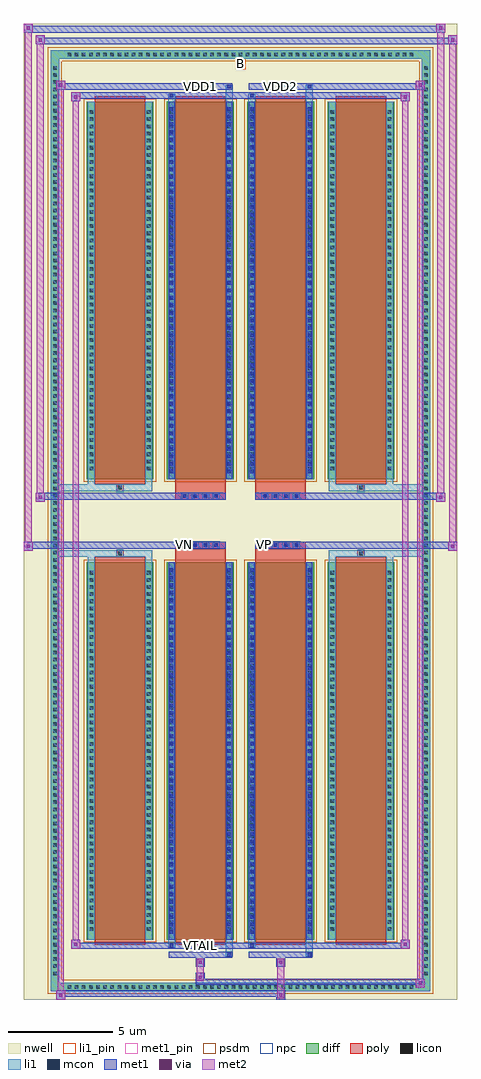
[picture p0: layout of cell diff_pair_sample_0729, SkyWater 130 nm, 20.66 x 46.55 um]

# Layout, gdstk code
import gdstk
lib = gdstk.Library(unit=1e-6, precision=5e-09)
def R(c, l, rs):  # rectangles x0, y0, x1, y1
    for r in rs: c.add(gdstk.rectangle(r[:2], r[2:], *l))
def A(c, l, x, y, w, h, nx, ny, dx, dy):  # array of equal rectangles
    R(c, l, [(x+i*dx, y+j*dy, x+i*dx+w, y+j*dy+h) for i in range(nx) for j in range(ny)])
def P(c, l, *ps):  # polygons
    for p in ps: c.add(gdstk.Polygon(p, *l))
nwell = (64, 20)
diff = (65, 20)
poly = (66, 20)
licon = (66, 44)
li1_pin = (67, 16)
li1 = (67, 20)
mcon = (67, 44)
met1_pin = (68, 16)
met1 = (68, 20)
via = (68, 44)
met2 = (69, 20)
psdm = (94, 20)
npc = (95, 20)

diff_pair_sample_0729 = lib.new_cell('diff_pair_sample_0729')
R(diff_pair_sample_0729, nwell, [(-10.33,-22.84,10.33,23.71), (-7.65,-21.03,-0.01,-0.805), (0.01,-21.03,7.65,-0.805), (-7.65,0.805,-0.01,21.03), (0.01,0.805,7.65,21.03)])
A(diff_pair_sample_0729, diff, -8.365, -22.44, 0.41, 0.41, 49, 2, 0.34, 44.47)
A(diff_pair_sample_0729, diff, -9.06, -21.795, 0.41, 0.41, 1, 128, 0, 0.34)
A(diff_pair_sample_0729, diff, 8.65, -21.795, 0.41, 0.41, 1, 128, 0, 0.34)
A(diff_pair_sample_0729, diff, -7.34, -19.985, 3.19, 18, 4, 2, 3.83, 21.97)
R(diff_pair_sample_0729, diff, [(-8.365,-22.44,8.365,-22.03), (-9.06,-21.795,-8.65,21.795), (8.65,-21.795,9.06,21.795), (-8.365,22.03,8.365,22.44)])
P(diff_pair_sample_0729, diff, [(9.06,22.44),(-9.06,22.44),(-9.06,-22.03),(-8.65,-22.03),(-8.65,22.03),(8.65,22.03),(8.65,-22.03),(-8.65,-22.03),(-9.06,-22.03),(-9.06,-22.44),(9.06,-22.44)])
A(diff_pair_sample_0729, poly, -6.95, -20.235, 2.41, 18.5, 4, 2, 3.83, 21.97)
A(diff_pair_sample_0729, poly, -2.83, -1.335, 0.33, 0.33, 4, 2, 0.5, 2.34)
A(diff_pair_sample_0729, poly, 1, -1.335, 0.33, 0.33, 4, 2, 0.5, 2.34)
R(diff_pair_sample_0729, poly, [(-5.91,-1.735,-5.58,-1.405), (-5.91,-1.735,-5.58,-1.405), (-3.12,-1.735,-0.71,-1.335), (0.71,-1.735,3.12,-1.335), (5.58,-1.735,5.91,-1.405), (5.58,-1.735,5.91,-1.405), (-3.12,-1.335,-0.71,-1.005), (0.71,-1.335,3.12,-1.005), (-3.12,1.005,-0.71,1.335), (0.71,1.005,3.12,1.335), (-3.12,1.335,-0.71,1.735), (0.71,1.335,3.12,1.735), (-5.91,1.405,-5.58,1.735), (-5.91,1.405,-5.58,1.735), (5.58,1.405,5.91,1.735), (5.58,1.405,5.91,1.735)])
A(diff_pair_sample_0729, licon, -8.245, -22.32, 0.17, 0.17, 49, 2, 0.34, 44.47)
A(diff_pair_sample_0729, licon, -8.94, -21.675, 0.17, 0.17, 1, 128, 0, 0.34)
A(diff_pair_sample_0729, licon, 8.77, -21.675, 0.17, 0.17, 1, 128, 0, 0.34)
A(diff_pair_sample_0729, licon, -7.2, -19.57, 0.17, 0.17, 1, 51, 0, 0.34)
A(diff_pair_sample_0729, licon, -4.46, -19.57, 0.17, 0.17, 1, 51, 0, 0.34)
A(diff_pair_sample_0729, licon, -3.37, -19.57, 0.17, 0.17, 1, 51, 0, 0.34)
A(diff_pair_sample_0729, licon, -0.63, -19.57, 0.17, 0.17, 1, 51, 0, 0.34)
A(diff_pair_sample_0729, licon, 0.46, -19.57, 0.17, 0.17, 1, 51, 0, 0.34)
A(diff_pair_sample_0729, licon, 3.2, -19.57, 0.17, 0.17, 1, 51, 0, 0.34)
A(diff_pair_sample_0729, licon, 4.29, -19.57, 0.17, 0.17, 1, 51, 0, 0.34)
A(diff_pair_sample_0729, licon, 7.03, -19.57, 0.17, 0.17, 1, 51, 0, 0.34)
A(diff_pair_sample_0729, licon, -2.75, -1.255, 0.17, 0.17, 4, 2, 0.5, 2.34)
A(diff_pair_sample_0729, licon, 1.08, -1.255, 0.17, 0.17, 4, 2, 0.5, 2.34)
A(diff_pair_sample_0729, licon, -7.2, 2.4, 0.17, 0.17, 1, 51, 0, 0.34)
A(diff_pair_sample_0729, licon, -4.46, 2.4, 0.17, 0.17, 1, 51, 0, 0.34)
A(diff_pair_sample_0729, licon, -3.37, 2.4, 0.17, 0.17, 1, 51, 0, 0.34)
A(diff_pair_sample_0729, licon, -0.63, 2.4, 0.17, 0.17, 1, 51, 0, 0.34)
A(diff_pair_sample_0729, licon, 0.46, 2.4, 0.17, 0.17, 1, 51, 0, 0.34)
A(diff_pair_sample_0729, licon, 3.2, 2.4, 0.17, 0.17, 1, 51, 0, 0.34)
A(diff_pair_sample_0729, licon, 4.29, 2.4, 0.17, 0.17, 1, 51, 0, 0.34)
A(diff_pair_sample_0729, licon, 7.03, 2.4, 0.17, 0.17, 1, 51, 0, 0.34)
R(diff_pair_sample_0729, licon, [(-5.83,-1.655,-5.66,-1.485), (5.66,-1.655,5.83,-1.485), (-5.83,1.485,-5.66,1.655), (5.66,1.485,5.83,1.655)])
R(diff_pair_sample_0729, li1_pin, [(-0.25,21.53,0.25,22.03)])
A(diff_pair_sample_0729, li1, -8.325, -22.4, 0.33, 0.33, 49, 2, 0.34, 44.47)
A(diff_pair_sample_0729, li1, -9.02, -21.755, 0.33, 0.33, 1, 128, 0, 0.34)
A(diff_pair_sample_0729, li1, 8.69, -21.755, 0.33, 0.33, 1, 128, 0, 0.34)
A(diff_pair_sample_0729, li1, -3.37, -19.71, 0.17, 0.17, 1, 49, 0, 0.36)
A(diff_pair_sample_0729, li1, -0.63, -19.71, 0.17, 0.17, 1, 49, 0, 0.36)
A(diff_pair_sample_0729, li1, 0.46, -19.71, 0.17, 0.17, 1, 49, 0, 0.36)
A(diff_pair_sample_0729, li1, 3.2, -19.71, 0.17, 0.17, 1, 49, 0, 0.36)
A(diff_pair_sample_0729, li1, -7.28, -19.65, 0.33, 0.33, 1, 51, 0, 0.34)
A(diff_pair_sample_0729, li1, -4.54, -19.65, 0.33, 0.33, 1, 51, 0, 0.34)
A(diff_pair_sample_0729, li1, -3.45, -19.65, 0.33, 0.33, 1, 51, 0, 0.34)
A(diff_pair_sample_0729, li1, -0.71, -19.65, 0.33, 0.33, 1, 51, 0, 0.34)
A(diff_pair_sample_0729, li1, 0.38, -19.65, 0.33, 0.33, 1, 51, 0, 0.34)
A(diff_pair_sample_0729, li1, 3.12, -19.65, 0.33, 0.33, 1, 51, 0, 0.34)
A(diff_pair_sample_0729, li1, 4.21, -19.65, 0.33, 0.33, 1, 51, 0, 0.34)
A(diff_pair_sample_0729, li1, 6.95, -19.65, 0.33, 0.33, 1, 51, 0, 0.34)
A(diff_pair_sample_0729, li1, -2.83, -1.335, 0.33, 0.33, 4, 2, 0.5, 2.34)
A(diff_pair_sample_0729, li1, 1, -1.335, 0.33, 0.33, 4, 2, 0.5, 2.34)
A(diff_pair_sample_0729, li1, -3.37, 2.26, 0.17, 0.17, 1, 49, 0, 0.36)
A(diff_pair_sample_0729, li1, -0.63, 2.26, 0.17, 0.17, 1, 49, 0, 0.36)
A(diff_pair_sample_0729, li1, 0.46, 2.26, 0.17, 0.17, 1, 49, 0, 0.36)
A(diff_pair_sample_0729, li1, 3.2, 2.26, 0.17, 0.17, 1, 49, 0, 0.36)
A(diff_pair_sample_0729, li1, -7.28, 2.32, 0.33, 0.33, 1, 51, 0, 0.34)
A(diff_pair_sample_0729, li1, -4.54, 2.32, 0.33, 0.33, 1, 51, 0, 0.34)
A(diff_pair_sample_0729, li1, -3.45, 2.32, 0.33, 0.33, 1, 51, 0, 0.34)
A(diff_pair_sample_0729, li1, -0.71, 2.32, 0.33, 0.33, 1, 51, 0, 0.34)
A(diff_pair_sample_0729, li1, 0.38, 2.32, 0.33, 0.33, 1, 51, 0, 0.34)
A(diff_pair_sample_0729, li1, 3.12, 2.32, 0.33, 0.33, 1, 51, 0, 0.34)
A(diff_pair_sample_0729, li1, 4.21, 2.32, 0.33, 0.33, 1, 51, 0, 0.34)
A(diff_pair_sample_0729, li1, 6.95, 2.32, 0.33, 0.33, 1, 51, 0, 0.34)
R(diff_pair_sample_0729, li1, [(-9.06,-22.44,-8.65,-22.03), (-9.06,-22.44,-8.65,-22.03), (-8.65,-22.44,8.65,-22.03), (8.65,-22.44,9.06,-22.03), (8.65,-22.44,9.06,-22.03), (-9.06,-22.03,-8.65,22.03), (8.65,-22.03,9.06,22.03), (-0.71,-20.79,-0.38,-19.985), (-0.63,-20.79,-0.46,-20.62), (3.12,-20.79,3.45,-19.985), (3.2,-20.79,3.37,-20.62), (-3.45,-20.36,-3.12,-19.985), (-3.37,-20.36,-3.2,-20.19), (0.38,-20.36,0.71,-19.985), (0.46,-20.36,0.63,-20.19), (-7.28,-19.985,-6.95,-1.985), (-4.54,-19.985,-4.21,-1.985), (-3.45,-19.985,-3.12,-1.985), (-0.71,-19.985,-0.38,-1.985), (0.38,-19.985,0.71,-1.985), (3.12,-19.985,3.45,-1.985), (4.21,-19.985,4.54,-1.985), (6.95,-19.985,7.28,-1.985), (-3.37,-19.71,-3.2,-2.26), (-0.63,-19.71,-0.46,-2.26), (0.46,-19.71,0.63,-2.26), (3.2,-19.71,3.37,-2.26), (-7.28,-1.985,-6.95,-1.405), (-4.54,-1.985,-4.21,-1.405), (4.21,-1.985,4.54,-1.405), (6.95,-1.985,7.28,-1.405), (-9.06,-1.735,-5.91,-1.405), (-7.28,-1.735,-5.91,-1.405), (-5.91,-1.735,-5.58,-1.405), (-5.58,-1.735,-4.21,-1.405), (4.21,-1.735,5.58,-1.405), (5.58,-1.735,5.91,-1.405), (5.58,-1.735,9.06,-1.405), (5.91,-1.735,7.28,-1.405), (-9.06,1.405,-5.91,1.735), (-7.28,1.405,-5.91,1.735), (-7.28,1.405,-6.95,1.985), (-5.91,1.405,-5.58,1.735), (-5.58,1.405,-4.21,1.735), (-4.54,1.405,-4.21,1.985), (4.21,1.405,5.58,1.735), (4.21,1.405,4.54,1.985), (5.58,1.405,5.91,1.735), (5.58,1.405,9.06,1.735), (5.91,1.405,7.28,1.735), (6.95,1.405,7.28,1.985), (-7.28,1.985,-6.95,19.985), (-4.54,1.985,-4.21,19.985), (-3.45,1.985,-3.12,19.985), (-0.71,1.985,-0.38,19.985), (0.38,1.985,0.71,19.985), (3.12,1.985,3.45,19.985), (4.21,1.985,4.54,19.985), (6.95,1.985,7.28,19.985), (-3.37,2.26,-3.2,19.71), (-0.63,2.26,-0.46,19.71), (0.46,2.26,0.63,19.71), (3.2,2.26,3.37,19.71), (-3.45,19.985,-3.12,20.36), (-0.71,19.985,-0.38,20.79), (0.38,19.985,0.71,20.36), (3.12,19.985,3.45,20.79), (-3.37,20.19,-3.2,20.36), (0.46,20.19,0.63,20.36), (-0.63,20.62,-0.46,20.79), (3.2,20.62,3.37,20.79), (-9.06,22.03,-8.65,22.44), (-9.06,22.03,-8.65,22.44), (-8.65,22.03,8.65,22.44), (8.65,22.03,9.06,22.44), (8.65,22.03,9.06,22.44)])
A(diff_pair_sample_0729, mcon, -3.37, -19.71, 0.17, 0.17, 1, 49, 0, 0.36)
A(diff_pair_sample_0729, mcon, -0.63, -19.71, 0.17, 0.17, 1, 49, 0, 0.36)
A(diff_pair_sample_0729, mcon, 0.46, -19.71, 0.17, 0.17, 1, 49, 0, 0.36)
A(diff_pair_sample_0729, mcon, 3.2, -19.71, 0.17, 0.17, 1, 49, 0, 0.36)
A(diff_pair_sample_0729, mcon, -2.75, -1.255, 0.17, 0.17, 4, 2, 0.5, 2.34)
A(diff_pair_sample_0729, mcon, 1.08, -1.255, 0.17, 0.17, 4, 2, 0.5, 2.34)
A(diff_pair_sample_0729, mcon, -3.37, 2.26, 0.17, 0.17, 1, 49, 0, 0.36)
A(diff_pair_sample_0729, mcon, -0.63, 2.26, 0.17, 0.17, 1, 49, 0, 0.36)
A(diff_pair_sample_0729, mcon, 0.46, 2.26, 0.17, 0.17, 1, 49, 0, 0.36)
A(diff_pair_sample_0729, mcon, 3.2, 2.26, 0.17, 0.17, 1, 49, 0, 0.36)
R(diff_pair_sample_0729, mcon, [(-0.63,-20.79,-0.46,-20.62), (3.2,-20.79,3.37,-20.62), (-3.37,-20.36,-3.2,-20.19), (0.46,-20.36,0.63,-20.19), (-3.37,20.19,-3.2,20.36), (0.46,20.19,0.63,20.36), (-0.63,20.62,-0.46,20.79), (3.2,20.62,3.37,20.79)])
R(diff_pair_sample_0729, met1_pin, [(-2.05,-20.4,-1.78,-20.13), (-2.8,-1.295,-2.53,-1.025), (1.03,-1.295,1.3,-1.025), (-2.05,20.58,-1.78,20.85), (1.78,20.58,2.05,20.85)])
A(diff_pair_sample_0729, met1, -3.43, -19.77, 0.29, 0.29, 1, 49, 0, 0.36)
A(diff_pair_sample_0729, met1, -0.69, -19.77, 0.29, 0.29, 1, 49, 0, 0.36)
A(diff_pair_sample_0729, met1, 0.4, -19.77, 0.29, 0.29, 1, 49, 0, 0.36)
A(diff_pair_sample_0729, met1, 3.14, -19.77, 0.29, 0.29, 1, 49, 0, 0.36)
A(diff_pair_sample_0729, met1, -2.81, -1.315, 0.29, 0.29, 4, 2, 0.5, 2.34)
A(diff_pair_sample_0729, met1, 1.02, -1.315, 0.29, 0.29, 4, 2, 0.5, 2.34)
A(diff_pair_sample_0729, met1, -3.43, 2.2, 0.29, 0.29, 1, 49, 0, 0.36)
A(diff_pair_sample_0729, met1, -0.69, 2.2, 0.29, 0.29, 1, 49, 0, 0.36)
A(diff_pair_sample_0729, met1, 0.4, 2.2, 0.29, 0.29, 1, 49, 0, 0.36)
A(diff_pair_sample_0729, met1, 3.14, 2.2, 0.29, 0.29, 1, 49, 0, 0.36)
R(diff_pair_sample_0729, met1, [(-8.79,-22.84,-8.36,-22.41), (1.7,-22.84,2.13,-22.41), (-8.79,-22.7,2.13,-22.41), (8.36,-22.27,8.79,-21.84), (-2.13,-22.13,8.79,-21.84), (-2.13,-21.99,-1.7,-21.56), (-2.13,-21.28,-1.7,-20.85), (1.7,-21.28,2.13,-20.85), (-3.43,-20.85,-0.4,-20.56), (-0.69,-20.85,-0.4,-20.56), (0.4,-20.85,3.43,-20.56), (3.14,-20.85,3.43,-20.56), (-8.08,-20.42,-7.65,-19.99), (-8.08,-20.42,-3.43,-20.13), (-3.43,-20.42,-3.14,-20.13), (-3.43,-20.42,-0.4,-20.13), (-0.4,-20.42,0.4,-20.13), (0.4,-20.42,0.69,-20.13), (0.4,-20.42,3.43,-20.13), (3.43,-20.42,8.08,-20.13), (7.65,-20.42,8.08,-19.99), (-3.43,-19.985,-3.14,-1.985), (-0.69,-19.985,-0.4,-1.985), (0.4,-19.985,0.69,-1.985), (3.14,-19.985,3.43,-1.985), (-10.33,-1.435,-9.9,-1.005), (9.9,-1.435,10.33,-1.005), (-10.33,-1.335,-0.71,-1.005), (-3.12,-1.335,-0.71,-1.005), (0.71,-1.335,3.12,-1.005), (0.71,-1.335,10.33,-1.005), (-9.76,0.905,-9.33,1.335), (9.33,0.905,9.76,1.335), (-9.76,1.005,-3.12,1.335), (-3.12,1.005,-0.71,1.335), (0.71,1.005,3.12,1.335), (3.12,1.005,9.76,1.335), (-3.43,1.985,-3.14,19.985), (-0.69,1.985,-0.4,19.985), (0.4,1.985,0.69,19.985), (3.14,1.985,3.43,19.985), (-8.08,19.99,-7.65,20.42), (7.65,19.99,8.08,20.42), (-8.08,20.13,-3.43,20.42), (-3.43,20.13,-3.14,20.42), (-3.43,20.13,-0.4,20.42), (-0.4,20.13,0.4,20.42), (0.4,20.13,0.69,20.42), (0.4,20.13,3.43,20.42), (3.43,20.13,8.08,20.42), (-8.79,20.56,-8.36,20.99), (-8.79,20.56,-3.43,20.85), (-3.43,20.56,-0.4,20.85), (-0.69,20.56,-0.4,20.85), (0.4,20.56,3.43,20.85), (3.14,20.56,3.43,20.85), (3.43,20.56,8.79,20.85), (8.36,20.56,8.79,20.99), (-9.76,22.71,-9.33,23.14), (-9.76,22.71,-7.65,23.04), (-7.65,22.71,7.65,23.04), (7.65,22.71,10.33,23.04), (9.9,22.71,10.33,23.14), (-10.33,23.28,-9.9,23.71), (-10.33,23.28,-7.65,23.61), (-7.65,23.28,7.65,23.61), (7.65,23.28,9.76,23.61), (9.33,23.28,9.76,23.71)])
R(diff_pair_sample_0729, via, [(-8.65,-22.7,-8.5,-22.55), (1.84,-22.7,1.99,-22.55), (8.5,-22.13,8.65,-21.98), (-1.99,-21.85,-1.84,-21.7), (-1.99,-21.14,-1.84,-20.99), (1.84,-21.14,1.99,-20.99), (-7.94,-20.28,-7.79,-20.13), (7.79,-20.28,7.94,-20.13), (-10.19,-1.295,-10.04,-1.145), (10.04,-1.295,10.19,-1.145), (-9.62,1.045,-9.47,1.195), (9.47,1.045,9.62,1.195), (-7.94,20.13,-7.79,20.28), (7.79,20.13,7.94,20.28), (-8.65,20.7,-8.5,20.85), (8.5,20.7,8.65,20.85), (-9.62,22.85,-9.47,23), (10.04,22.85,10.19,23), (-10.19,23.42,-10.04,23.57), (9.47,23.42,9.62,23.57)])
R(diff_pair_sample_0729, met2, [(-8.79,-22.84,-8.36,-22.41), (-8.72,-22.84,-8.43,20.99), (-8.43,-22.84,-8.36,-22.41), (-8.74,-22.79,-8.41,-22.46), (1.75,-22.79,2.08,-22.46), (1.75,-22.46,2.08,-21.23), (8.36,-22.27,8.79,-21.84), (8.43,-22.27,8.72,20.99), (8.72,-22.27,8.79,-21.84), (8.41,-22.22,8.74,-21.89), (-2.08,-21.94,-1.75,-21.61), (-2.08,-21.61,-1.75,-21.23), (-2.08,-21.23,-1.75,-20.9), (1.75,-21.23,2.08,-20.9), (-8.08,-20.42,-7.65,-19.99), (-8.01,-20.42,-7.72,20.42), (-7.72,-20.42,-7.65,-19.99), (7.65,-20.42,8.08,-19.99), (7.72,-20.42,8.01,20.42), (8.01,-20.42,8.08,-19.99), (-8.03,-20.37,-7.7,-20.04), (7.7,-20.37,8.03,-20.04), (-10.33,-1.435,-9.9,-1.005), (-10.28,-1.435,-9.95,23.71), (-9.95,-1.435,-9.9,-1.005), (9.9,-1.435,10.33,-1.005), (9.95,-1.435,10.28,23.14), (10.28,-1.435,10.33,-1.005), (-10.28,-1.385,-9.95,-1.055), (9.95,-1.385,10.28,-1.055), (-9.76,0.905,-9.33,1.335), (-9.71,0.905,-9.38,23.14), (-9.38,0.905,-9.33,1.335), (9.33,0.905,9.76,1.335), (9.38,0.905,9.71,23.71), (9.71,0.905,9.76,1.335), (-9.71,0.955,-9.38,1.285), (9.38,0.955,9.71,1.285), (-8.08,19.99,-7.65,20.42), (-7.72,19.99,-7.65,20.42), (7.65,19.99,8.08,20.42), (8.01,19.99,8.08,20.42), (-8.03,20.04,-7.7,20.37), (7.7,20.04,8.03,20.37), (-8.79,20.56,-8.36,20.99), (-8.43,20.56,-8.36,20.99), (8.36,20.56,8.79,20.99), (8.72,20.56,8.79,20.99), (-8.74,20.61,-8.41,20.94), (8.41,20.61,8.74,20.94), (-9.76,22.71,-9.33,23.14), (-9.38,22.71,-9.33,23.14), (9.9,22.71,10.33,23.14), (10.28,22.71,10.33,23.14), (-9.71,22.76,-9.38,23.09), (9.95,22.76,10.28,23.09), (-10.33,23.28,-9.9,23.71), (-9.95,23.28,-9.9,23.71), (9.33,23.28,9.76,23.71), (9.71,23.28,9.76,23.71), (-10.28,23.33,-9.95,23.66), (9.38,23.33,9.71,23.66)])
A(diff_pair_sample_0729, psdm, -7.47, -20.115, 3.45, 18.26, 4, 2, 3.83, 21.97)
P(diff_pair_sample_0729, psdm, [(9.19,22.57),(-9.19,22.57),(-9.19,-21.9),(-8.52,-21.9),(-8.52,21.9),(8.52,21.9),(8.52,-21.9),(-8.52,-21.9),(-9.19,-21.9),(-9.19,-22.57),(9.19,-22.57)])
A(diff_pair_sample_0729, npc, -2.85, -1.355, 0.37, 0.37, 4, 2, 0.5, 2.34)
A(diff_pair_sample_0729, npc, 0.98, -1.355, 0.37, 0.37, 4, 2, 0.5, 2.34)
R(diff_pair_sample_0729, npc, [(-5.93,-1.755,-5.56,-1.385), (5.56,-1.755,5.93,-1.385), (-2.85,-1.355,-1.98,-0.985), (-2.85,-1.355,-1.98,-0.985), (-2.35,-1.355,-1.48,-0.985), (-2.35,-1.355,-1.48,-0.985), (-1.85,-1.355,-0.98,-0.985), (-1.85,-1.355,-0.98,-0.985), (0.98,-1.355,1.85,-0.985), (0.98,-1.355,1.85,-0.985), (1.48,-1.355,2.35,-0.985), (1.48,-1.355,2.35,-0.985), (1.98,-1.355,2.85,-0.985), (1.98,-1.355,2.85,-0.985), (-2.85,0.985,-1.98,1.355), (-2.85,0.985,-1.98,1.355), (-2.35,0.985,-1.48,1.355), (-2.35,0.985,-1.48,1.355), (-1.85,0.985,-0.98,1.355), (-1.85,0.985,-0.98,1.355), (0.98,0.985,1.85,1.355), (0.98,0.985,1.85,1.355), (1.48,0.985,2.35,1.355), (1.48,0.985,2.35,1.355), (1.98,0.985,2.85,1.355), (1.98,0.985,2.85,1.355), (-5.93,1.385,-5.56,1.755), (5.56,1.385,5.93,1.755)])
diff_pair_sample_0729.add(gdstk.Label('VTAIL', (-1.915,-20.265), layer=68, texttype=5))
diff_pair_sample_0729.add(gdstk.Label('VN', (-2.665,-1.16), layer=68, texttype=5))
diff_pair_sample_0729.add(gdstk.Label('VP', (1.165,-1.16), layer=68, texttype=5))
diff_pair_sample_0729.add(gdstk.Label('B', (0,21.78), layer=67, texttype=5))
diff_pair_sample_0729.add(gdstk.Label('VDD2', (1.915,20.715), layer=68, texttype=5))
diff_pair_sample_0729.add(gdstk.Label('VDD1', (-1.915,20.715), layer=68, texttype=5))

lib.write_gds('diff_pair_sample_0729.gds')
